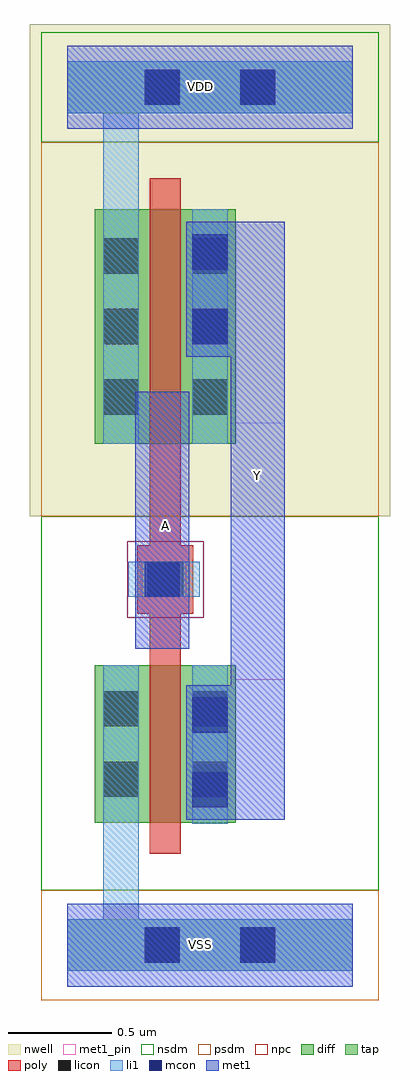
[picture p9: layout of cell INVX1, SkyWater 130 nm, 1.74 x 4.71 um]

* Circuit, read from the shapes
.subckt INVX1 A VDD VSS Y
XM1 Y A VSS VSS sky130_fd_pr__nfet_01v8 w=0.76 l=0.15
XM2 Y A VDD VDD sky130_fd_pr__pfet_01v8 w=1.13 l=0.15
.ends

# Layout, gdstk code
from math import pi, radians
import gdstk
lib = gdstk.Library(unit=1e-6, precision=1e-09)
def R(c, l, rs):  # rectangles x0, y0, x1, y1
    for r in rs: c.add(gdstk.rectangle(r[:2], r[2:], *l))
def A(c, l, x, y, w, h, nx, ny, dx, dy):  # array of equal rectangles
    R(c, l, [(x+i*dx, y+j*dy, x+i*dx+w, y+j*dy+h) for i in range(nx) for j in range(ny)])
nwell = (64, 20)
diff = (65, 20)
tap = (65, 44)
poly = (66, 20)
licon = (66, 44)
li1 = (67, 20)
mcon = (67, 44)
met1_pin = (68, 16)
met1 = (68, 20)
nsdm = (93, 44)
psdm = (94, 20)
npc = (95, 20)

nfet_01v8_cdns_716492285 = lib.new_cell('nfet_01v8_CDNS_716492285220')
R(nfet_01v8_cdns_716492285, diff, [(-0.265,0,0,0.76), (0,0,0.15,0.76), (0.15,0,0.415,0.76)])
R(nfet_01v8_cdns_716492285, poly, [(0,-0.15,0.15,-0.095), (0,-0.095,0.15,0), (0,0,0.15,0.76), (0,0.76,0.15,0.855), (0,0.855,0.15,0.91)])
R(nfet_01v8_cdns_716492285, licon, [(-0.225,0.125,-0.055,0.295), (0.205,0.125,0.375,0.295), (-0.225,0.465,-0.055,0.635), (0.205,0.465,0.375,0.635)])
R(nfet_01v8_cdns_716492285, li1, [(-0.225,0,-0.055,0.76), (0.205,0,0.375,0.76)])
R(nfet_01v8_cdns_716492285, nsdm, [(-0.405,-0.13,0.555,0.89)])

pfet_01v8_cdns_716492285 = lib.new_cell('pfet_01v8_CDNS_716492285222')
R(pfet_01v8_cdns_716492285, nwell, [(-0.445,-0.18,0.595,1.31)])
R(pfet_01v8_cdns_716492285, diff, [(-0.265,0,0,1.13), (0,0,0.15,1.13), (0.15,0,0.415,1.13)])
R(pfet_01v8_cdns_716492285, poly, [(0,-0.15,0.15,-0.095), (0,-0.095,0.15,0), (0,0,0.15,1.13), (0,1.13,0.15,1.225), (0,1.225,0.15,1.28)])
A(pfet_01v8_cdns_716492285, licon, -0.225, 0.14, 0.17, 0.17, 1, 3, 0, 0.34)
A(pfet_01v8_cdns_716492285, licon, 0.205, 0.14, 0.17, 0.17, 1, 3, 0, 0.34)
R(pfet_01v8_cdns_716492285, li1, [(-0.225,0,-0.055,1.13), (0.205,0,0.375,1.13)])
R(pfet_01v8_cdns_716492285, psdm, [(-0.405,-0.13,0.555,1.26)])

l1m1_c_cdns_716492285225 = lib.new_cell('L1M1_C_CDNS_716492285225')
R(l1m1_c_cdns_716492285225, li1, [(-0.085,-0.345,0.085,0.345)])
R(l1m1_c_cdns_716492285225, mcon, [(-0.085,-0.265,0.085,-0.095), (-0.085,0.095,0.085,0.265)])
R(l1m1_c_cdns_716492285225, met1, [(-0.115,-0.325,0.115,0.325)])

l1m1_c_cdns_716492285223 = lib.new_cell('L1M1_C_CDNS_716492285223')
R(l1m1_c_cdns_716492285223, li1, [(-0.165,-0.085,0.165,0.085)])
R(l1m1_c_cdns_716492285223, mcon, [(-0.085,-0.085,0.085,0.085)])
R(l1m1_c_cdns_716492285223, met1, [(-0.115,-0.145,0.115,0.145)])

pyl1con_c_cdns_716492285 = lib.new_cell('PYL1CON_C_CDNS_716492285220')
R(pyl1con_c_cdns_716492285, poly, [(-0.135,-0.165,0.135,0.165)])
R(pyl1con_c_cdns_716492285, licon, [(-0.085,-0.085,0.085,0.085)])
R(pyl1con_c_cdns_716492285, npc, [(-0.185,-0.185,0.185,0.185)])

invx1 = lib.new_cell('INVX1')
R(invx1, nwell, [(-0.18,2.07,1.56,4.305), (-0.18,3.875,1.56,4.445)])
R(invx1, licon, [(0.375,-0.085,0.545,0.085), (0.835,-0.085,1.005,0.085), (0.375,4.055,0.545,4.225), (0.835,4.055,1.005,4.225)])
R(invx1, mcon, [(0.375,-0.085,0.545,0.085), (0.835,-0.085,1.005,0.085), (0.375,4.055,0.545,4.225), (0.835,4.055,1.005,4.225)])
R(invx1, met1_pin, [(0.79,1.28,1.05,2.52), (0.33,1.43,0.59,2.67)])
R(invx1, nsdm, [(-0.125,0.265,1.505,2.07), (-0.125,3.875,1.505,4.405), (-0.125,3.93,1.505,4.35)])
R(invx1, psdm, [(-0.125,-0.265,1.505,0.265), (-0.125,-0.21,1.505,0.21), (-0.125,2.07,1.505,3.875)])
invx1.add(gdstk.FlexPath([(0,4.14),(1.38,4.14)], 0.4, ends="flush", simple_path=True, layer=68, datatype=20))  # met1
invx1.add(gdstk.FlexPath([(0,0),(1.38,0)], 0.4, ends="flush", simple_path=True, layer=68, datatype=20))  # met1
invx1.add(gdstk.FlexPath([(0.92,3.49),(0.92,0.605)], 0.26, ends="flush", simple_path=True, layer=68, datatype=20))  # met1
invx1.add(gdstk.FlexPath([(0.46,1.43),(0.46,2.67)], 0.26, ends="flush", simple_path=True, layer=68, datatype=20))  # met1
invx1.add(gdstk.FlexPath([(0,4.14),(1.38,4.14)], 0.25, ends="flush", simple_path=True, layer=65, datatype=44))  # tap
invx1.add(gdstk.FlexPath([(0,0),(1.38,0)], 0.25, ends="flush", simple_path=True, layer=65, datatype=44))  # tap
invx1.add(gdstk.FlexPath([(0.475,2.27),(0.475,1.46)], 0.15, ends="flush", simple_path=True, layer=66, datatype=20))  # poly
invx1.add(gdstk.FlexPath([(0.26,3.55),(0.26,4.14)], 0.17, ends=(0, 0.125), simple_path=True, layer=67, datatype=20))  # li1
invx1.add(gdstk.FlexPath([(0.26,0),(0.215,0)], 0.17, ends=(0.085, 0), simple_path=True, layer=67, datatype=20))  # li1
invx1.add(gdstk.FlexPath([(0.26,0.59),(0.26,0)], 0.17, ends=(0, 0.085), simple_path=True, layer=67, datatype=20))  # li1
invx1.add(gdstk.FlexPath([(0,0),(1.38,0)], 0.25, ends="flush", simple_path=True, layer=67, datatype=20))  # li1
invx1.add(gdstk.FlexPath([(0,4.14),(1.38,4.14)], 0.25, ends="flush", simple_path=True, layer=67, datatype=20))  # li1
invx1.add(gdstk.FlexPath([(0.295,1.765),(0.64,1.765)], 0.17, ends="flush", simple_path=True, layer=67, datatype=20))  # li1
invx1.add(gdstk.FlexPath([(0,4.14),(1.38,4.14)], 0.4, ends="flush", simple_path=True, layer=68, datatype=16))  # met1_pin
invx1.add(gdstk.FlexPath([(0,0),(1.38,0)], 0.4, ends="flush", simple_path=True, layer=68, datatype=16))  # met1_pin
invx1.add(gdstk.Reference(nfet_01v8_cdns_716492285, (0.4,0.59)))
invx1.add(gdstk.Reference(pfet_01v8_cdns_716492285, (0.4,2.42)))
invx1.add(gdstk.Reference(l1m1_c_cdns_716492285225, (0.69,3.165)))
invx1.add(gdstk.Reference(l1m1_c_cdns_716492285225, (0.69,0.93)))
invx1.add(gdstk.Reference(l1m1_c_cdns_716492285223, (0.46,1.765), x_reflection=True))
invx1.add(gdstk.Reference(pyl1con_c_cdns_716492285, (0.475,1.765), rotation=pi, x_reflection=True))
invx1.add(gdstk.Label('VDD', (0.645,4.145), layer=68, texttype=5))
invx1.add(gdstk.Label('VSS', (0.645,0.005), layer=68, texttype=5))
invx1.add(gdstk.Label('A', (0.475,2.025), layer=68, texttype=5))
invx1.add(gdstk.Label('Y', (0.92,2.265), layer=68, texttype=5))

lib.write_gds('INVX1.gds')
